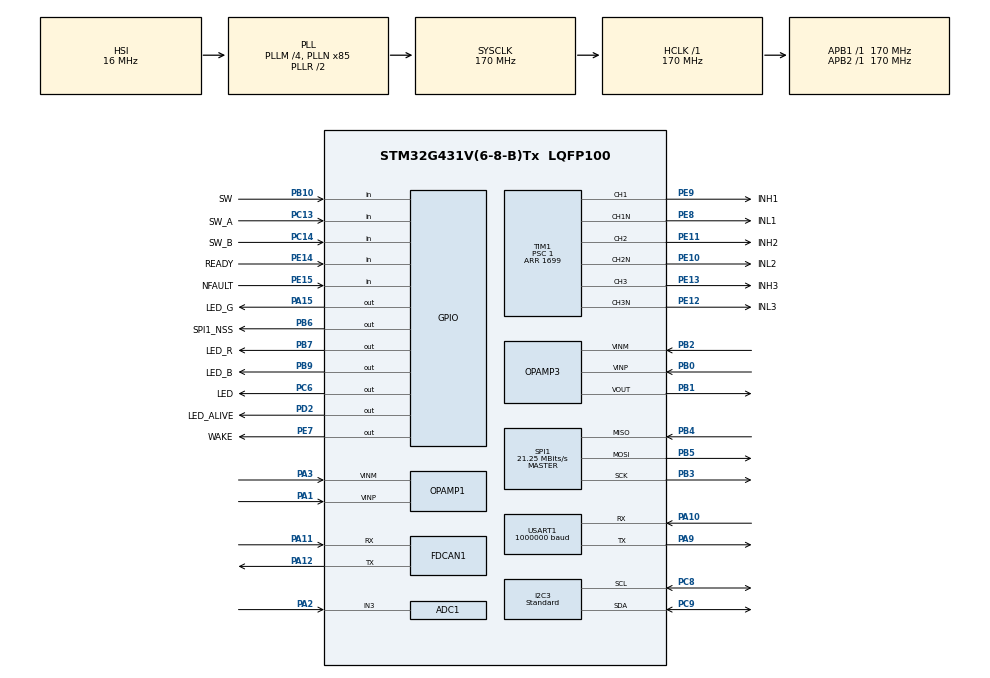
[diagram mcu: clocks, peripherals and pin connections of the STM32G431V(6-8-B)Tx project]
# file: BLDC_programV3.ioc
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ADC1.Channel-1\#ChannelRegularConversion=ADC_CHANNEL_3
ADC1.ContinuousConvMode=ENABLE
ADC1.NbrOfConversionFlag=1
ADC1.OffsetNumber-1\#ChannelRegularConversion=ADC_OFFSET_NONE
ADC1.Rank-1\#ChannelRegularConversion=1
ADC1.SamplingTime-1\#ChannelRegularConversion=ADC_SAMPLETIME_2CYCLES_5
ADC1.master=1
Dma.I2C3_RX.2.Direction=DMA_PERIPH_TO_MEMORY
Dma.I2C3_RX.2.EventEnable=DISABLE
Dma.I2C3_RX.2.Instance=DMA1_Channel3
Dma.I2C3_RX.2.MemDataAlignment=DMA_MDATAALIGN_BYTE
Dma.I2C3_RX.2.MemInc=DMA_MINC_ENABLE
Dma.I2C3_RX.2.Mode=DMA_NORMAL
Dma.I2C3_RX.2.PeriphDataAlignment=DMA_PDATAALIGN_BYTE
Dma.I2C3_RX.2.PeriphInc=DMA_PINC_DISABLE
Dma.I2C3_RX.2.Polarity=HAL_DMAMUX_REQ_GEN_RISING
Dma.I2C3_RX.2.Priority=DMA_PRIORITY_LOW
Dma.I2C3_RX.2.RequestNumber=1
Dma.I2C3_RX.2.SignalID=NONE
Dma.I2C3_RX.2.SyncEnable=DISABLE
Dma.I2C3_RX.2.SyncPolarity=HAL_DMAMUX_SYNC_NO_EVENT
Dma.I2C3_RX.2.SyncRequestNumber=1
Dma.I2C3_RX.2.SyncSignalID=NONE
Dma.Request0=SPI1_RX
Dma.Request1=SPI1_TX
Dma.Request2=I2C3_RX
Dma.SPI1_RX.0.Direction=DMA_PERIPH_TO_MEMORY
Dma.SPI1_RX.0.EventEnable=DISABLE
Dma.SPI1_RX.0.Instance=DMA1_Channel1
Dma.SPI1_RX.0.MemDataAlignment=DMA_MDATAALIGN_HALFWORD
Dma.SPI1_RX.0.MemInc=DMA_MINC_ENABLE
Dma.SPI1_RX.0.Mode=DMA_NORMAL
Dma.SPI1_RX.0.PeriphDataAlignment=DMA_PDATAALIGN_HALFWORD
Dma.SPI1_RX.0.PeriphInc=DMA_PINC_DISABLE
Dma.SPI1_RX.0.Polarity=HAL_DMAMUX_REQ_GEN_RISING
Dma.SPI1_RX.0.Priority=DMA_PRIORITY_LOW
Dma.SPI1_RX.0.RequestNumber=1
Dma.SPI1_RX.0.SignalID=NONE
Dma.SPI1_RX.0.SyncEnable=DISABLE
Dma.SPI1_RX.0.SyncPolarity=HAL_DMAMUX_SYNC_NO_EVENT
Dma.SPI1_RX.0.SyncRequestNumber=1
Dma.SPI1_RX.0.SyncSignalID=NONE
Dma.SPI1_TX.1.Direction=DMA_MEMORY_TO_PERIPH
Dma.SPI1_TX.1.EventEnable=DISABLE
Dma.SPI1_TX.1.Instance=DMA1_Channel2
Dma.SPI1_TX.1.MemDataAlignment=DMA_MDATAALIGN_HALFWORD
Dma.SPI1_TX.1.MemInc=DMA_MINC_ENABLE
Dma.SPI1_TX.1.Mode=DMA_NORMAL
Dma.SPI1_TX.1.PeriphDataAlignment=DMA_PDATAALIGN_HALFWORD
Dma.SPI1_TX.1.PeriphInc=DMA_PINC_DISABLE
Dma.SPI1_TX.1.Polarity=HAL_DMAMUX_REQ_GEN_RISING
Dma.SPI1_TX.1.Priority=DMA_PRIORITY_LOW
Dma.SPI1_TX.1.RequestNumber=1
Dma.SPI1_TX.1.SignalID=NONE
Dma.SPI1_TX.1.SyncEnable=DISABLE
Dma.SPI1_TX.1.SyncPolarity=HAL_DMAMUX_SYNC_NO_EVENT
Dma.SPI1_TX.1.SyncRequestNumber=1
Dma.SPI1_TX.1.SyncSignalID=NONE
FDCAN1.AutoRetransmission=ENABLE
FDCAN1.CalculateBaudRateNominal=100000
FDCAN1.CalculateTimeBitNominal=10000
FDCAN1.CalculateTimeQuantumNominal=588.2352941176471
FDCAN1.ClockDivider=FDCAN_CLOCK_DIV10
FDCAN1.DataPrescaler=1
FDCAN1.DataSyncJumpWidth=1
FDCAN1.DataTimeSeg1=28
FDCAN1.DataTimeSeg2=13
FDCAN1.FrameFormat=FDCAN_FRAME_CLASSIC
FDCAN1.NominalPrescaler=10
FDCAN1.NominalSyncJumpWidth=1
FDCAN1.NominalTimeSeg1=14
FDCAN1.NominalTimeSeg2=2
FDCAN1.StdFiltersNbr=0
I2C3.I2C_Speed_Mode=I2C_Standard
I2C3.Timing=0x30A0A7FB
Mcu.Family=STM32G4
Mcu.Name=STM32G431V(6-8-B)Tx
Mcu.Package=LQFP100
NVIC.CORDIC_IRQn=true\:0\:0\:false\:false\:true\:true\:true\:true
NVIC.DMA1_Channel1_IRQn=true\:0\:0\:false\:false\:true\:false\:true\:true
NVIC.DMA1_Channel2_IRQn=true\:0\:0\:false\:false\:true\:false\:true\:true
NVIC.DMA1_Channel3_IRQn=true\:0\:0\:false\:false\:true\:false\:true\:true
NVIC.FDCAN1_IT0_IRQn=true\:0\:0\:false\:false\:true\:true\:true\:true
NVIC.FDCAN1_IT1_IRQn=true\:0\:0\:false\:false\:true\:true\:true\:true
NVIC.PriorityGroup=NVIC_PRIORITYGROUP_4
NVIC.SPI1_IRQn=true\:0\:0\:false\:false\:true\:true\:true\:true
OPAMP1.PowerMode=OPAMP_POWERMODE_HIGHSPEED
PA1.Mode=Standalone
PA1.Signal=OPAMP1_VINP
PA10.Mode=Asynchronous
PA10.Signal=USART1_RX
PA11.Mode=FDCAN_Activate
PA11.Signal=FDCAN1_RX
PA12.Mode=FDCAN_Activate
PA12.Signal=FDCAN1_TX
PA13.Mode=Serial_Wire
PA13.Signal=SYS_JTMS-SWDIO
PA14.Mode=Serial_Wire
PA14.Signal=SYS_JTCK-SWCLK
PA15.GPIO_Label=LED_G
PA15.Signal=GPIO_Output
PA2.Signal=SharedAnalog_PA2
PA3.Mode=Standalone
PA3.Signal=OPAMP1_VINM
PA9.Mode=Asynchronous
PA9.Signal=USART1_TX
PB0.Mode=Standalone
PB0.Signal=OPAMP3_VINP
PB1.Signal=SharedAnalog_PB1
PB10.GPIO_Label=SW
PB10.GPIO_PuPd=GPIO_PULLUP
PB10.Signal=GPIO_Input
PB2.Mode=Standalone
PB2.Signal=OPAMP3_VINM
PB3.Mode=Full_Duplex_Master
PB3.Signal=SPI1_SCK
PB4.Mode=Full_Duplex_Master
PB4.Signal=SPI1_MISO
PB5.Mode=Full_Duplex_Master
PB5.Signal=SPI1_MOSI
PB6.GPIO_FM6=SYSCFG_FASTMODEPLUS_PB6
PB6.GPIO_Label=SPI1_NSS
PB6.GPIO_PuPd=GPIO_PULLUP
PB6.GPIO_Speed=GPIO_SPEED_FREQ_VERY_HIGH
PB6.Signal=GPIO_Output
PB7.GPIO_Label=LED_R
PB7.Signal=GPIO_Output
PB9.GPIO_Label=LED_B
PB9.Signal=GPIO_Output
PC13.GPIO_Label=SW_A
PC13.GPIO_PuPd=GPIO_PULLUP
PC13.Signal=GPIO_Input
PC14-OSC32_IN.GPIO_Label=SW_B
PC14-OSC32_IN.GPIO_PuPd=GPIO_PULLUP
PC14-OSC32_IN.Signal=GPIO_Input
PC6.GPIO_Label=LED
PC6.Signal=GPIO_Output
PC8.Mode=I2C
PC8.Signal=I2C3_SCL
PC9.Mode=I2C
PC9.Signal=I2C3_SDA
PD2.GPIO_Label=LED_ALIVE
PD2.Signal=GPIO_Output
PE10.GPIO_Label=INL2
PE10.Mode=PWM Generation2 CH2 CH2N
PE10.Signal=TIM1_CH2N
PE11.GPIO_Label=INH2
PE11.Signal=S_TIM1_CH2
PE12.GPIO_Label=INL3
PE12.Mode=PWM Generation3 CH3 CH3N
PE12.Signal=TIM1_CH3N
PE13.GPIO_Label=INH3
PE13.Signal=S_TIM1_CH3
PE14.GPIO_Label=READY
PE14.GPIO_PuPd=GPIO_PULLUP
PE14.Signal=GPIO_Input
PE15.GPIO_Label=NFAULT
PE15.GPIO_PuPd=GPIO_PULLUP
PE15.Signal=GPIO_Input
PE7.GPIO_Label=WAKE
PE7.Signal=GPIO_Output
PE8.GPIO_Label=INL1
PE8.Mode=PWM Generation1 CH1 CH1N
PE8.Signal=TIM1_CH1N
PE9.GPIO_Label=INH1
PE9.Signal=S_TIM1_CH1
ProjectManager.HeapSize=0x200
ProjectManager.StackSize=0x400
ProjectManager.TargetToolchain=Makefile
RCC.ADC12Freq_Value=170000000
RCC.AHBFreq_Value=170000000
RCC.APB1Freq_Value=170000000
RCC.APB1TimFreq_Value=170000000
RCC.APB2Freq_Value=170000000
RCC.APB2TimFreq_Value=170000000
RCC.CortexFreq_Value=170000000
RCC.EXTERNAL_CLOCK_VALUE=12288000
RCC.HCLKFreq_Value=170000000
RCC.HSE_VALUE=16000000
RCC.HSI48_VALUE=48000000
RCC.HSI_VALUE=16000000
RCC.LSE_VALUE=32768
RCC.PLLM=RCC_PLLM_DIV4
RCC.PLLN=85
RCC.SYSCLKFreq_VALUE=170000000
RCC.SYSCLKSource=RCC_SYSCLKSOURCE_PLLCLK
RCC.USBFreq_Value=170000000
RCC.VCOOutputFreq_Value=340000000
SH.S_TIM1_CH1.0=TIM1_CH1,PWM Generation1 CH1 CH1N
SH.S_TIM1_CH2.0=TIM1_CH2,PWM Generation2 CH2 CH2N
SH.S_TIM1_CH3.0=TIM1_CH3,PWM Generation3 CH3 CH3N
SH.SharedAnalog_PA2.0=ADC1_IN3,IN3-Single-Ended
SH.SharedAnalog_PA2.1=OPAMP1_VOUT,Standalone
SH.SharedAnalog_PB1.0=OPAMP3_VOUT,Standalone
SH.SharedAnalog_PB1.1=ADC1_IN12,IN12-Single-Ended
SPI1.BaudRatePrescaler=SPI_BAUDRATEPRESCALER_8
SPI1.CLKPhase=SPI_PHASE_2EDGE
SPI1.CalculateBaudRate=21.25 MBits/s
SPI1.DataSize=SPI_DATASIZE_16BIT
SPI1.Direction=SPI_DIRECTION_2LINES
SPI1.Mode=SPI_MODE_MASTER
SPI1.VirtualType=VM_MASTER
TIM1.AutoReloadPreload=TIM_AUTORELOAD_PRELOAD_ENABLE
TIM1.Channel-PWM\ Generation1\ CH1\ CH1N=TIM_CHANNEL_1
TIM1.Channel-PWM\ Generation2\ CH2\ CH2N=TIM_CHANNEL_2
TIM1.Channel-PWM\ Generation3\ CH3\ CH3N=TIM_CHANNEL_3
TIM1.DeadTime=35
TIM1.PeriodNoDither=1699
TIM1.Prescaler=1
USART1.BaudRate=1000000
USART1.VirtualMode-Asynchronous=VM_ASYNC
VP_CORDIC_VS_CORDIC.Mode=CORDIC_Activate
VP_SYS_VS_DBSignals.Mode=DisableDeadBatterySignals
board=custom

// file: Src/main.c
/* USER CODE BEGIN Header */
/**
 ******************************************************************************
 * @file           : main.c
 * @brief          : Main program body
 ******************************************************************************
 * @attention
 *
 * <h2><center>&copy; Copyright (c) 2024 STMicroelectronics.
 * All rights reserved.</center></h2>
 *
 * This software component is licensed by ST under BSD 3-Clause license,
 * the "License"; You may not use this file except in compliance with the
 * License. You may obtain a copy of the License at:
 *                        opensource.org/licenses/BSD-3-Clause
 *
 ******************************************************************************
 */
/* USER CODE END Header */
#include "main.h"
#include "adc.h"
#include "cordic.h"
#include "dma.h"
#include "fdcan.h"
#include "i2c.h"
#include "opamp.h"
#include "spi.h"
#include "tim.h"
#include "usart.h"
#include "gpio.h"

/* USER CODE BEGIN Includes */
#include "./App/app.hpp"
/* USER CODE END Includes */

/* USER CODE BEGIN PD */
#ifdef __GNUC__
#define PUTCHAR_PROTOTYPE int __io_putchar(int ch)
#define GETCHAR_PROTOTYPE int __io_getchar(void)
#else
#define PUTCHAR_PROTOTYPE int fputc(int ch, FILE *f)
#define GETCHAR_PROTOTYPE int f getc(FILE *f)
#endif
/* USER CODE END PD */

void SystemClock_Config(void);

/* USER CODE BEGIN 0 */

asm(".global _printf_float");

int _write(int file, char *ptr, int len) {
    HAL_UART_Transmit(&huart1, (uint8_t *)ptr, len, 10);
    return len;
}

void __io_putchar(uint8_t ch) {
    HAL_UART_Transmit(&huart1, &ch, 1, 0xFFFFFFFF);
}

int __io_getchar(void) {
    uint8_t rxBuf;
    while (HAL_UART_Receive(&huart1, &rxBuf, 1, 0xFFFFFFFF) != HAL_OK)
        ;
    return (rxBuf);
}
/* USER CODE END 0 */

int main(void)
{
  /* USER CODE BEGIN 1 */
    setbuf(stdout, NULL);
  /* USER CODE END 1 */

  /* MCU Configuration--------------------------------------------------------*/

  /* Reset of all peripherals, Initializes the Flash interface and the Systick. */
  HAL_Init();

  /* Configure the system clock */
  SystemClock_Config();

  /* Initialize all configured peripherals */
  MX_GPIO_Init();
  MX_DMA_Init();
  MX_I2C3_Init();
  MX_SPI1_Init();
  MX_TIM1_Init();
  MX_ADC1_Init();
  MX_FDCAN1_Init();
  MX_OPAMP1_Init();
  MX_OPAMP3_Init();
  MX_USART1_UART_Init();
  MX_CORDIC_Init();
  /* USER CODE BEGIN 2 */
  HAL_ADC_Start(&hadc1);
  /* USER CODE END 2 */

  /* Infinite loop */
  /* USER CODE BEGIN WHILE */
    while (1) {
        main_app();
    /* USER CODE END WHILE */

    }
}

void SystemClock_Config(void)
{
  RCC_OscInitTypeDef RCC_OscInitStruct = {0};
  RCC_ClkInitTypeDef RCC_ClkInitStruct = {0};

  /** Configure the main internal regulator output voltage
  */
  HAL_PWREx_ControlVoltageScaling(PWR_REGULATOR_VOLTAGE_SCALE1_BOOST);

  /** Initializes the RCC Oscillators according to the specified parameters
  * in the RCC_OscInitTypeDef structure.
  */
  RCC_OscInitStruct.OscillatorType = RCC_OSCILLATORTYPE_HSI;
  RCC_OscInitStruct.HSIState = RCC_HSI_ON;
  RCC_OscInitStruct.HSICalibrationValue = RCC_HSICALIBRATION_DEFAULT;
  RCC_OscInitStruct.PLL.PLLState = RCC_PLL_ON;
  RCC_OscInitStruct.PLL.PLLSource = RCC_PLLSOURCE_HSI;
  RCC_OscInitStruct.PLL.PLLM = RCC_PLLM_DIV4;
  RCC_OscInitStruct.PLL.PLLN = 85;
  RCC_OscInitStruct.PLL.PLLP = RCC_PLLP_DIV2;
  RCC_OscInitStruct.PLL.PLLQ = RCC_PLLQ_DIV2;
  RCC_OscInitStruct.PLL.PLLR = RCC_PLLR_DIV2;
  if (HAL_RCC_OscConfig(&RCC_OscInitStruct) != HAL_OK)
  {
    Error_Handler();
  }

  /** Initializes the CPU, AHB and APB buses clocks
  */
  RCC_ClkInitStruct.ClockType = RCC_CLOCKTYPE_HCLK|RCC_CLOCKTYPE_SYSCLK
                              |RCC_CLOCKTYPE_PCLK1|RCC_CLOCKTYPE_PCLK2;
  RCC_ClkInitStruct.SYSCLKSource = RCC_SYSCLKSOURCE_PLLCLK;
  RCC_ClkInitStruct.AHBCLKDivider = RCC_SYSCLK_DIV1;
  RCC_ClkInitStruct.APB1CLKDivider = RCC_HCLK_DIV1;
  RCC_ClkInitStruct.APB2CLKDivider = RCC_HCLK_DIV1;

  if (HAL_RCC_ClockConfig(&RCC_ClkInitStruct, FLASH_LATENCY_4) != HAL_OK)
  {
    Error_Handler();
  }
}

void Error_Handler(void)
{
    __disable_irq();
    while (1) {
    }
}
